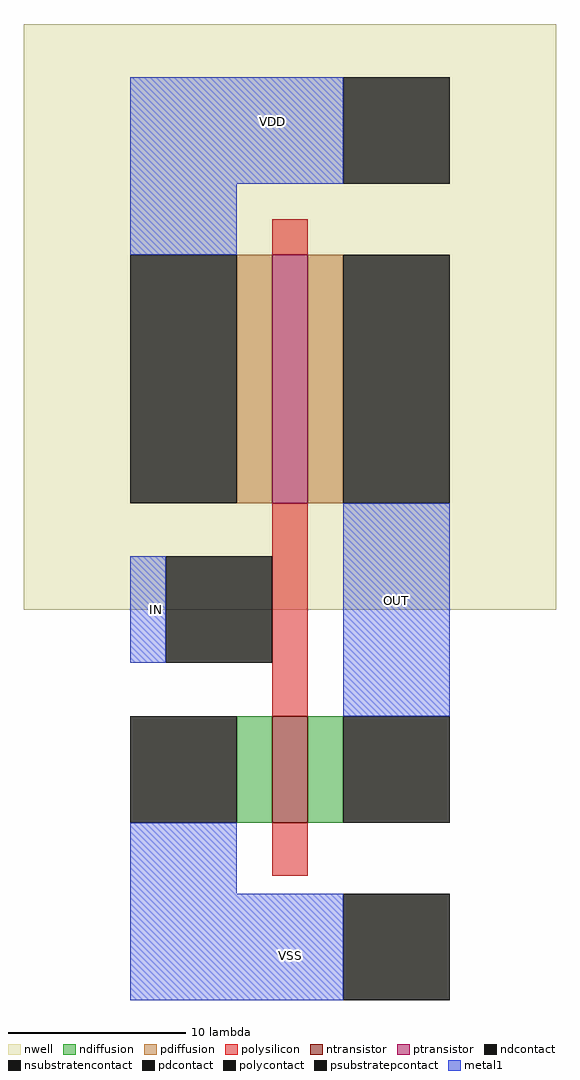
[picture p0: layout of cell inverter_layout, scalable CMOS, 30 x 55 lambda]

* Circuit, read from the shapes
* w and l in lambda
.subckt inverter_layout IN VDD OUT VSS
M1 OUT IN VSS VSS nfet w=6 l=2
M2 OUT IN VDD VDD pfet w=14 l=2
.ends

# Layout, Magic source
magic
tech scmos
<< nwell >>
rect 0 -33 30 0
<< ntransistor >>
rect 14 -45 16 -39
<< ptransistor >>
rect 14 -27 16 -13
<< ndiffusion >>
rect 12 -45 14 -39
rect 16 -45 18 -39
<< pdiffusion >>
rect 12 -27 14 -13
rect 16 -27 18 -13
<< ndcontact >>
rect 6 -45 12 -39
rect 18 -45 24 -39
<< pdcontact >>
rect 6 -27 12 -13
rect 18 -27 24 -13
<< psubstratepcontact >>
rect 18 -55 24 -49
<< nsubstratencontact >>
rect 18 -9 24 -3
<< polysilicon >>
rect 14 -13 16 -11
rect 14 -39 16 -27
rect 14 -48 16 -45
<< polycontact >>
rect 8 -36 14 -30
<< metal1 >>
rect 6 -9 18 -3
rect 6 -13 12 -9
rect 6 -36 8 -30
rect 18 -39 24 -27
rect 6 -49 12 -45
rect 6 -55 18 -49
<< labels >>
rlabel metal1 13 -6 15 -5 0 VDD
port 2 nsew
rlabel metal1 7 -34 8 -32 7 IN
port 1 w
rlabel metal1 20 -33 22 -32 0 OUT
port 3 nsew
rlabel metal1 14 -53 16 -52 0 VSS
port 4 nsew
<< end >>
